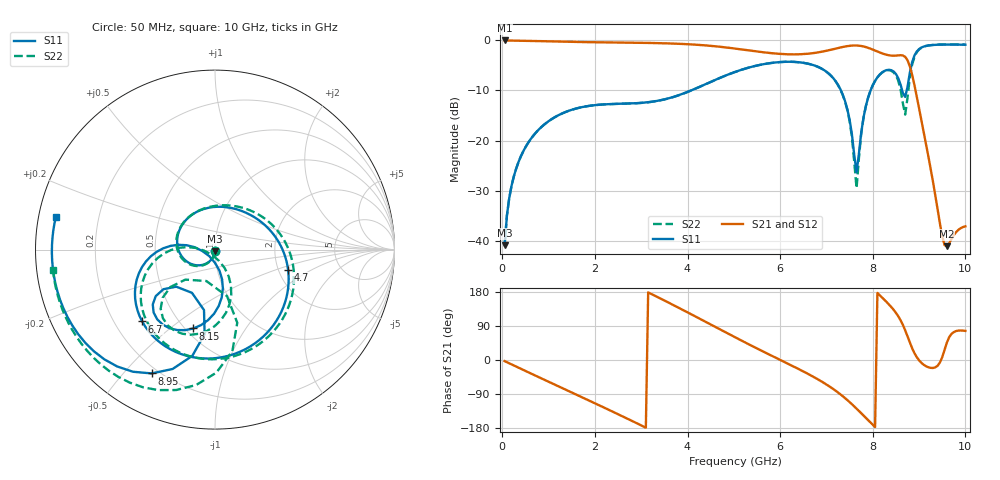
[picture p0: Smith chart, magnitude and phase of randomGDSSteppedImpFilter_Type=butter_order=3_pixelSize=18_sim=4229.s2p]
! freq	dB(S11)	phase(S11)	dB(S12)	phase(S12)
!  dB(S21)	phase(S21)	dB(S22)	phase(S22)
!S-par simulation data
#  GHz  S  DB  R 50
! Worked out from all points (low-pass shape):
!   200 points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, 50 MHz to 10 GHz, reference 50 ohm
!   highest |S21| = -0.01 dB at 50 MHz (marker M1); lowest = -41.1 dB at 9.6 GHz (marker M2)
!   |S21| within 3 dB of the highest: start of sweep to 8.379 GHz; 8.528 GHz to 8.65 GHz (121.2 MHz wide, 1.41 % of centre)
!   lowest |S11| = -40.9 dB at 50 MHz (marker M3), VSWR 1.02, Z = 50 - j0.901 ohm
!   |S11| at or under -10 dB: start of sweep to 4.074 GHz; 7.312 GHz to 7.952 GHz (639.5 MHz wide, 8.38 % of centre); 8.635 GHz to 8.732 GHz (97.26 MHz wide, 1.12 % of centre)
!   |S22| runs from -40.9 to -0.8 dB; largest |S21 - S12| = 0
!   S11 on the Smith chart (normalised r, x): 50 MHz: 1.00, -0.02; 4.7 GHz: 2.26, -0.62; 6.7 GHz: 0.32, -0.37; 8.15 GHz: 0.55, -0.61; 8.95 GHz: 0.17, -0.60; 10 GHz: 0.05, +0.10
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0.05  -40.90 -92.0  -0.01 -2.9  -0.01 -2.9  -40.89 -91.8
0.2  -29.03 -101.5  -0.03 -11.6  -0.03 -11.6  -29.03 -101.0
0.5  -21.34 -120.0  -0.07 -28.9  -0.07 -28.9  -21.34 -118.5
1.75  -13.27 166.2  -0.33 -100.0  -0.33 -100.0  -13.27 172.3
2.65  -12.62 111.8  -0.44 -151.8  -0.44 -151.8  -12.63 122.8
3.4  -11.97 65.1  -0.55 163.2  -0.55 163.2  -11.99 79.3
4.1  -9.90 21.6  -0.80 119.4  -0.80 119.4  -9.92 35.3
4.7  -7.48 -15.5  -1.26 80.9  -1.26 80.9  -7.49 -4.0
5.05  -6.22 -37.1  -1.65 58.5  -1.65 58.5  -6.22 -26.8
5.95  -4.36 -90.7  -2.66 3.3  -2.66 3.3  -4.36 -82.4
6.7  -4.88 -135.4  -2.55 -43.1  -2.55 -43.1  -4.89 -128.0
7.35  -10.79 178.6  -1.31 -95.3  -1.31 -95.3  -10.87 -175.6
7.5  -15.85 171.2  -1.07 -111.1  -1.07 -111.1  -16.12 174.8
7.65  -26.33 -131.9  -1.01 -128.3  -1.01 -128.3  -29.52 -120.0
7.85  -13.13 -78.5  -1.33 -152.6  -1.33 -152.6  -13.16 -66.1
8.15  -6.82 -105.4  -2.40 171.1  -2.40 171.1  -6.83 -95.6
8.35  -5.86 -124.9  -2.97 146.5  -2.97 146.5  -5.94 -116.5
8.7  -11.28 -118.0  -3.28 78.4  -3.28 78.4  -14.82 -105.4
8.8  -6.47 -97.0  -5.15 46.1  -5.15 46.1  -7.41 -73.1
8.95  -2.22 -117.1  -11.21 7.5  -11.21 7.5  -2.36 -98.0
9.6  -0.83 -170.7  -41.09 45.9  -41.09 45.9  -0.79 -153.4
10  -0.86 168.5  -37.13 76.8  -37.13 76.8  -0.82 -172.9
